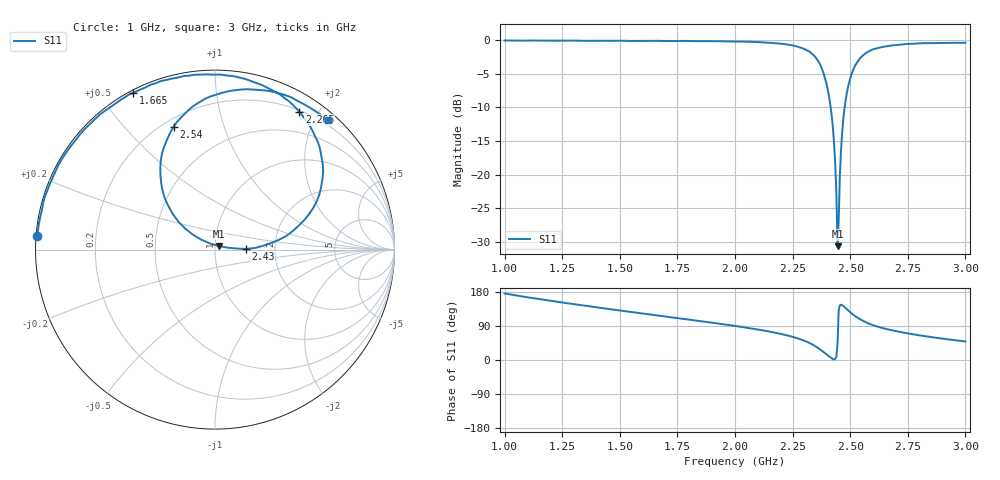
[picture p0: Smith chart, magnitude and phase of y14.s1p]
!  02.03.2026  10:41:58
! Ref Plane: 0,000 mm
# MHZ S MA R  50
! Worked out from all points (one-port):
!   401 points, 1 GHz to 3 GHz, reference 50 ohm
!   lowest |S11| = -30.7 dB at 2.445 GHz (marker M1), VSWR 1.06, Z = 52.2 + j2.06 ohm
!   |S11| at or under -10 dB: 2.415 GHz to 2.476 GHz (60.89 MHz wide, 2.49 % of centre)
!   S11 on the Smith chart (normalised r, x): 1 GHz: 0.00, +0.04; 1.665 GHz: 0.01, +0.61; 2.265 GHz: 0.22, +1.77; 2.43 GHz: 1.41, +0.01; 2.54 GHz: 0.24, +0.69; 3 GHz: 0.13, +2.19
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1000  0.9931 175.5
1250  0.9913 151.7
1500  0.9891 130.7
1665  0.9858 117.6
1750  0.9855 110.7
2000  0.9747 90.0
2145  0.9554 75.5
2250  0.9126 61.1
2265  0.8997 58.5
2325  0.8149 44.3
2355  0.7229 33.9
2380  0.5941 23.0
2410  0.3633 8.8
2420  0.2726 4.7
2430  0.1706 1.3
2440  0.07232 8.5
2445  0.0293 42.3
2450  0.04485 130.2
2455  0.09668 144.2
2465  0.2037 144.8
2475  0.3072 139.8
2500  0.5172 126.0
2540  0.7219 108.6
2575  0.8145 97.7
2610  0.8632 89.6
2750  0.9354 70.2
2875  0.9502 58.4
3000  0.9547 48.9
